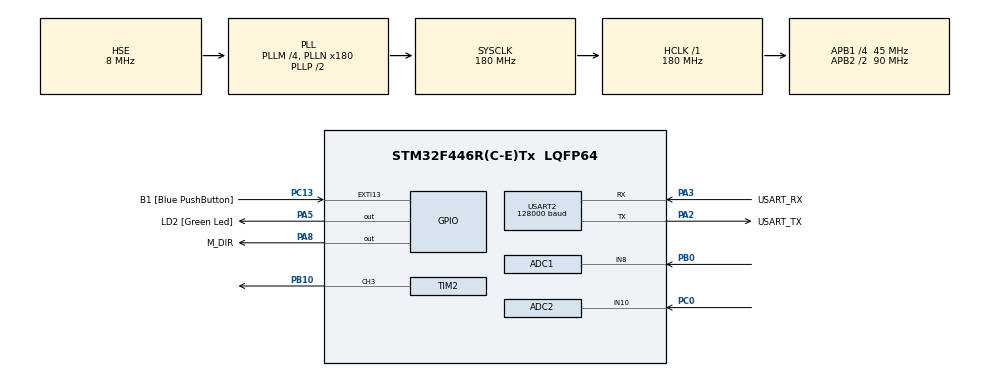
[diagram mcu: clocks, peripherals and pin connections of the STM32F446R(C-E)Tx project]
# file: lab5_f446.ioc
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ADC1.Channel-1\#ChannelRegularConversion=ADC_CHANNEL_8
ADC1.ClockPrescaler=ADC_CLOCK_SYNC_PCLK_DIV4
ADC1.ContinuousConvMode=DISABLE
ADC1.NbrOfConversion=1
ADC1.NbrOfConversionFlag=1
ADC1.Rank-1\#ChannelRegularConversion=1
ADC1.Resolution=ADC_RESOLUTION_12B
ADC1.SamplingTime-1\#ChannelRegularConversion=ADC_SAMPLETIME_3CYCLES
ADC1.ScanConvMode=DISABLE
ADC1.master=1
ADC2.Channel-1\#ChannelRegularConversion=ADC_CHANNEL_10
ADC2.ClockPrescaler=ADC_CLOCK_SYNC_PCLK_DIV4
ADC2.NbrOfConversionFlag=1
ADC2.Rank-1\#ChannelRegularConversion=1
ADC2.SamplingTime-1\#ChannelRegularConversion=ADC_SAMPLETIME_3CYCLES
Dma.ADC1.0.Direction=DMA_PERIPH_TO_MEMORY
Dma.ADC1.0.FIFOMode=DMA_FIFOMODE_DISABLE
Dma.ADC1.0.Instance=DMA2_Stream0
Dma.ADC1.0.MemDataAlignment=DMA_MDATAALIGN_WORD
Dma.ADC1.0.MemInc=DMA_MINC_ENABLE
Dma.ADC1.0.Mode=DMA_CIRCULAR
Dma.ADC1.0.PeriphDataAlignment=DMA_PDATAALIGN_WORD
Dma.ADC1.0.PeriphInc=DMA_PINC_DISABLE
Dma.ADC1.0.Priority=DMA_PRIORITY_LOW
Dma.Request0=ADC1
Mcu.Family=STM32F4
Mcu.Name=STM32F446R(C-E)Tx
Mcu.Package=LQFP64
NVIC.ADC_IRQn=true\:0\:0\:false\:false\:true\:true\:true\:true
NVIC.DMA2_Stream0_IRQn=true\:0\:0\:false\:false\:true\:false\:true\:true
NVIC.PriorityGroup=NVIC_PRIORITYGROUP_0
NVIC.USART2_IRQn=true\:0\:0\:false\:false\:true\:true\:true\:true
PA13.GPIO_Label=TMS
PA13.Mode=Serial_Wire
PA13.Signal=SYS_JTMS-SWDIO
PA14.GPIO_Label=TCK
PA14.Mode=Serial_Wire
PA14.Signal=SYS_JTCK-SWCLK
PA2.GPIO_Label=USART_TX
PA2.Mode=Asynchronous
PA2.Signal=USART2_TX
PA3.GPIO_Label=USART_RX
PA3.Mode=Asynchronous
PA3.Signal=USART2_RX
PA5.GPIO_Label=LD2 [Green Led]
PA5.Signal=GPIO_Output
PA8.GPIO_Label=M_DIR
PA8.Signal=GPIO_Output
PB0.Signal=ADCx_IN8
PB10.Signal=S_TIM2_CH3
PB3.GPIO_Label=SWO
PB3.Signal=SYS_JTDO-SWO
PC0.Signal=ADCx_IN10
PC13.GPIO_Label=B1 [Blue PushButton]
PC13.GPIO_ModeDefaultEXTI=GPIO_MODE_IT_FALLING
PC13.Signal=GPXTI13
PC14-OSC32_IN.Mode=LSE-External-Oscillator
PC14-OSC32_IN.Signal=RCC_OSC32_IN
PC15-OSC32_OUT.Mode=LSE-External-Oscillator
PC15-OSC32_OUT.Signal=RCC_OSC32_OUT
PH0-OSC_IN.Mode=HSE-External-Oscillator
PH0-OSC_IN.Signal=RCC_OSC_IN
PH1-OSC_OUT.Mode=HSE-External-Oscillator
PH1-OSC_OUT.Signal=RCC_OSC_OUT
ProjectManager.HeapSize=0x200
ProjectManager.StackSize=0x400
ProjectManager.TargetToolchain=STM32CubeIDE
RCC.AHBFreq_Value=180000000
RCC.APB1CLKDivider=RCC_HCLK_DIV4
RCC.APB1Freq_Value=45000000
RCC.APB1TimFreq_Value=90000000
RCC.APB2CLKDivider=RCC_HCLK_DIV2
RCC.APB2Freq_Value=90000000
RCC.APB2TimFreq_Value=180000000
RCC.CortexFreq_Value=180000000
RCC.FLatency-AdvancedSettings=FLASH_LATENCY_5
RCC.HCLKFreq_Value=180000000
RCC.HSE_VALUE=8000000
RCC.HSI_VALUE=16000000
RCC.PLLM=4
RCC.PLLN=180
RCC.PLLSourceVirtual=RCC_PLLSOURCE_HSE
RCC.SYSCLKFreq_VALUE=180000000
RCC.SYSCLKSource=RCC_SYSCLKSOURCE_PLLCLK
RCC.USBFreq_Value=180000000
RCC.VCOOutputFreq_Value=360000000
SH.ADCx_IN10.0=ADC2_IN10,IN10
SH.ADCx_IN8.0=ADC1_IN8,IN8
SH.S_TIM2_CH3.0=TIM2_CH3,PWM Generation3 CH3
TIM2.Channel-PWM\ Generation3\ CH3=TIM_CHANNEL_3
TIM2.Period=1000
TIM2.Prescaler=90-1
USART2.BaudRate=128000
USART2.VirtualMode=VM_ASYNC
VP_TIM3_VS_ClockSourceINT.Mode=Internal
board=NUCLEO-F446RE

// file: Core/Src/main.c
/* USER CODE BEGIN Header */
/**
  ******************************************************************************
  * @file           : main.c
  * @brief          : Main program body
  ******************************************************************************
  * @attention
  *
  * Copyright (c) 2024 STMicroelectronics.
  * All rights reserved.
  *
  * This software is licensed under terms that can be found in the LICENSE file
  * in the root directory of this software component.
  * If no LICENSE file comes with this software, it is provided AS-IS.
  *
  ******************************************************************************
  */
/* USER CODE END Header */
#include "main.h"

/* USER CODE BEGIN Includes */
#include "string.h"
#include "stdio.h"
#include "stdlib.h"
#include "inttypes.h"
/* USER CODE END Includes */

/* USER CODE BEGIN PD */
#define MOTOR_POT_MAX 4095
#define MOTOR_POT_MIN 0
/* USER CODE END PD */

 ADC_HandleTypeDef hadc1;
ADC_HandleTypeDef hadc2;
DMA_HandleTypeDef hdma_adc1;

TIM_HandleTypeDef htim2;
TIM_HandleTypeDef htim3;

UART_HandleTypeDef huart2;

/* USER CODE BEGIN PV */
uint32_t setpoint_pot_val, motor_pot_val;
uint32_t AD_RES_BUFFER[2];
int32_t duty_cycle, error, prev_error;
int32_t integral = 0, derivative;
char msg[30];
uint32_t current_tick = 0, last_tick = 0;
uint32_t delay_step = 5;
double Kp = 1.0, Ki = 0.001, Kd = 0.0;
/* USER CODE END PV */

void SystemClock_Config(void);
static void MX_GPIO_Init(void);
static void MX_ADC1_Init(void);
static void MX_DMA_Init(void);
static void MX_USART2_UART_Init(void);
static void MX_TIM2_Init(void);
static void MX_TIM3_Init(void);
static void MX_ADC2_Init(void);

/* USER CODE BEGIN 0 */
void drive_motor(int32_t duty_cycle) {
  // Saturation
  if (abs(duty_cycle) > 1000)
    duty_cycle = 1000*duty_cycle/abs(duty_cycle);
  uint8_t dir = GPIO_PIN_SET;
  if (duty_cycle < 0) dir = GPIO_PIN_RESET;

  // Output to motor
  HAL_GPIO_WritePin(M_DIR_GPIO_Port, M_DIR_Pin, dir);
  __HAL_TIM_SET_COMPARE(&htim2, TIM_CHANNEL_3, abs(duty_cycle));
}

void HAL_ADC_ConvCpltCallback(ADC_HandleTypeDef* hadc)
{
  if (hadc == &hadc1) {
      setpoint_pot_val = HAL_ADC_GetValue(hadc);
  }
  if (hadc == &hadc2) {
      motor_pot_val = HAL_ADC_GetValue(hadc);
    }
}

/* USER CODE END 0 */

int main(void)
{

  /* MCU Configuration--------------------------------------------------------*/

  /* Reset of all peripherals, Initializes the Flash interface and the Systick. */
  HAL_Init();

  /* Configure the system clock */
  SystemClock_Config();

  /* Initialize all configured peripherals */
  MX_GPIO_Init();
  MX_ADC1_Init();
  MX_DMA_Init();
  MX_USART2_UART_Init();
  MX_TIM2_Init();
  MX_TIM3_Init();
  MX_ADC2_Init();
  /* USER CODE BEGIN 2 */
  HAL_TIM_PWM_Start(&htim2, TIM_CHANNEL_3);
  /* USER CODE END 2 */

  /* Infinite loop */
  /* USER CODE BEGIN WHILE */
  while (1)
  {
      HAL_ADC_Start_IT(&hadc1);
      HAL_ADC_Start_IT(&hadc2);

      current_tick = HAL_GetTick();
      if (current_tick - last_tick > delay_step) {
	  last_tick = current_tick;

	  error = setpoint_pot_val - motor_pot_val;
	  integral += error*delay_step;
	  if (abs(error) < 10) integral = 0;
	  derivative = (error - prev_error)/delay_step;
	  prev_error = error;

	  duty_cycle = (Kp*error) + (Ki*integral) + (Kd*derivative);

	  // Drive motor
	  drive_motor(duty_cycle);

	  // To serial
	  sprintf(msg, "%"PRIu32",%"PRIu32",%"PRIi32",%"PRIi32"\r\n", setpoint_pot_val, motor_pot_val, error, duty_cycle);
	  HAL_UART_Transmit(&huart2, (uint8_t*)msg, strlen(msg), HAL_MAX_DELAY);

      }

      // Delay
//      HAL_Delay(5);
    /* USER CODE END WHILE */

  }
}

void SystemClock_Config(void)
{
  RCC_OscInitTypeDef RCC_OscInitStruct = {0};
  RCC_ClkInitTypeDef RCC_ClkInitStruct = {0};

  /** Configure the main internal regulator output voltage
  */
  __HAL_RCC_PWR_CLK_ENABLE();
  __HAL_PWR_VOLTAGESCALING_CONFIG(PWR_REGULATOR_VOLTAGE_SCALE1);

  /** Initializes the RCC Oscillators according to the specified parameters
  * in the RCC_OscInitTypeDef structure.
  */
  RCC_OscInitStruct.OscillatorType = RCC_OSCILLATORTYPE_HSE;
  RCC_OscInitStruct.HSEState = RCC_HSE_ON;
  RCC_OscInitStruct.PLL.PLLState = RCC_PLL_ON;
  RCC_OscInitStruct.PLL.PLLSource = RCC_PLLSOURCE_HSE;
  RCC_OscInitStruct.PLL.PLLM = 4;
  RCC_OscInitStruct.PLL.PLLN = 180;
  RCC_OscInitStruct.PLL.PLLP = RCC_PLLP_DIV2;
  RCC_OscInitStruct.PLL.PLLQ = 2;
  RCC_OscInitStruct.PLL.PLLR = 2;
  if (HAL_RCC_OscConfig(&RCC_OscInitStruct) != HAL_OK)
  {
    Error_Handler();
  }

  /** Activate the Over-Drive mode
  */
  if (HAL_PWREx_EnableOverDrive() != HAL_OK)
  {
    Error_Handler();
  }

  /** Initializes the CPU, AHB and APB buses clocks
  */
  RCC_ClkInitStruct.ClockType = RCC_CLOCKTYPE_HCLK|RCC_CLOCKTYPE_SYSCLK
                              |RCC_CLOCKTYPE_PCLK1|RCC_CLOCKTYPE_PCLK2;
  RCC_ClkInitStruct.SYSCLKSource = RCC_SYSCLKSOURCE_PLLCLK;
  RCC_ClkInitStruct.AHBCLKDivider = RCC_SYSCLK_DIV1;
  RCC_ClkInitStruct.APB1CLKDivider = RCC_HCLK_DIV4;
  RCC_ClkInitStruct.APB2CLKDivider = RCC_HCLK_DIV2;

  if (HAL_RCC_ClockConfig(&RCC_ClkInitStruct, FLASH_LATENCY_5) != HAL_OK)
  {
    Error_Handler();
  }
}

static void MX_ADC1_Init(void)
{

  ADC_ChannelConfTypeDef sConfig = {0};

  /** Configure the global features of the ADC (Clock, Resolution, Data Alignment and number of conversion)
  */
  hadc1.Instance = ADC1;
  hadc1.Init.ClockPrescaler = ADC_CLOCK_SYNC_PCLK_DIV4;
  hadc1.Init.Resolution = ADC_RESOLUTION_12B;
  hadc1.Init.ScanConvMode = DISABLE;
  hadc1.Init.ContinuousConvMode = DISABLE;
  hadc1.Init.DiscontinuousConvMode = DISABLE;
  hadc1.Init.ExternalTrigConvEdge = ADC_EXTERNALTRIGCONVEDGE_NONE;
  hadc1.Init.ExternalTrigConv = ADC_SOFTWARE_START;
  hadc1.Init.DataAlign = ADC_DATAALIGN_RIGHT;
  hadc1.Init.NbrOfConversion = 1;
  hadc1.Init.DMAContinuousRequests = DISABLE;
  hadc1.Init.EOCSelection = ADC_EOC_SINGLE_CONV;
  if (HAL_ADC_Init(&hadc1) != HAL_OK)
  {
    Error_Handler();
  }

  /** Configure for the selected ADC regular channel its corresponding rank in the sequencer and its sample time.
  */
  sConfig.Channel = ADC_CHANNEL_8;
  sConfig.Rank = 1;
  sConfig.SamplingTime = ADC_SAMPLETIME_3CYCLES;
  if (HAL_ADC_ConfigChannel(&hadc1, &sConfig) != HAL_OK)
  {
    Error_Handler();
  }

}

static void MX_ADC2_Init(void)
{

  ADC_ChannelConfTypeDef sConfig = {0};

  /** Configure the global features of the ADC (Clock, Resolution, Data Alignment and number of conversion)
  */
  hadc2.Instance = ADC2;
  hadc2.Init.ClockPrescaler = ADC_CLOCK_SYNC_PCLK_DIV4;
  hadc2.Init.Resolution = ADC_RESOLUTION_12B;
  hadc2.Init.ScanConvMode = DISABLE;
  hadc2.Init.ContinuousConvMode = DISABLE;
  hadc2.Init.DiscontinuousConvMode = DISABLE;
  hadc2.Init.ExternalTrigConvEdge = ADC_EXTERNALTRIGCONVEDGE_NONE;
  hadc2.Init.ExternalTrigConv = ADC_SOFTWARE_START;
  hadc2.Init.DataAlign = ADC_DATAALIGN_RIGHT;
  hadc2.Init.NbrOfConversion = 1;
  hadc2.Init.DMAContinuousRequests = DISABLE;
  hadc2.Init.EOCSelection = ADC_EOC_SINGLE_CONV;
  if (HAL_ADC_Init(&hadc2) != HAL_OK)
  {
    Error_Handler();
  }

  /** Configure for the selected ADC regular channel its corresponding rank in the sequencer and its sample time.
  */
  sConfig.Channel = ADC_CHANNEL_10;
  sConfig.Rank = 1;
  sConfig.SamplingTime = ADC_SAMPLETIME_3CYCLES;
  if (HAL_ADC_ConfigChannel(&hadc2, &sConfig) != HAL_OK)
  {
    Error_Handler();
  }

}

static void MX_TIM2_Init(void)
{

  TIM_MasterConfigTypeDef sMasterConfig = {0};
  TIM_OC_InitTypeDef sConfigOC = {0};

  htim2.Instance = TIM2;
  htim2.Init.Prescaler = 90-1;
  htim2.Init.CounterMode = TIM_COUNTERMODE_UP;
  htim2.Init.Period = 1000;
  htim2.Init.ClockDivision = TIM_CLOCKDIVISION_DIV1;
  htim2.Init.AutoReloadPreload = TIM_AUTORELOAD_PRELOAD_DISABLE;
  if (HAL_TIM_PWM_Init(&htim2) != HAL_OK)
  {
    Error_Handler();
  }
  sMasterConfig.MasterOutputTrigger = TIM_TRGO_RESET;
  sMasterConfig.MasterSlaveMode = TIM_MASTERSLAVEMODE_DISABLE;
  if (HAL_TIMEx_MasterConfigSynchronization(&htim2, &sMasterConfig) != HAL_OK)
  {
    Error_Handler();
  }
  sConfigOC.OCMode = TIM_OCMODE_PWM1;
  sConfigOC.Pulse = 0;
  sConfigOC.OCPolarity = TIM_OCPOLARITY_HIGH;
  sConfigOC.OCFastMode = TIM_OCFAST_DISABLE;
  if (HAL_TIM_PWM_ConfigChannel(&htim2, &sConfigOC, TIM_CHANNEL_3) != HAL_OK)
  {
    Error_Handler();
  }
  HAL_TIM_MspPostInit(&htim2);

}

static void MX_TIM3_Init(void)
{

  TIM_ClockConfigTypeDef sClockSourceConfig = {0};
  TIM_MasterConfigTypeDef sMasterConfig = {0};

  htim3.Instance = TIM3;
  htim3.Init.Prescaler = 0;
  htim3.Init.CounterMode = TIM_COUNTERMODE_UP;
  htim3.Init.Period = 65535;
  htim3.Init.ClockDivision = TIM_CLOCKDIVISION_DIV1;
  htim3.Init.AutoReloadPreload = TIM_AUTORELOAD_PRELOAD_DISABLE;
  if (HAL_TIM_Base_Init(&htim3) != HAL_OK)
  {
    Error_Handler();
  }
  sClockSourceConfig.ClockSource = TIM_CLOCKSOURCE_INTERNAL;
  if (HAL_TIM_ConfigClockSource(&htim3, &sClockSourceConfig) != HAL_OK)
  {
    Error_Handler();
  }
  sMasterConfig.MasterOutputTrigger = TIM_TRGO_RESET;
  sMasterConfig.MasterSlaveMode = TIM_MASTERSLAVEMODE_DISABLE;
  if (HAL_TIMEx_MasterConfigSynchronization(&htim3, &sMasterConfig) != HAL_OK)
  {
    Error_Handler();
  }

}

static void MX_USART2_UART_Init(void)
{

  huart2.Instance = USART2;
  huart2.Init.BaudRate = 128000;
  huart2.Init.WordLength = UART_WORDLENGTH_8B;
  huart2.Init.StopBits = UART_STOPBITS_1;
  huart2.Init.Parity = UART_PARITY_NONE;
  huart2.Init.Mode = UART_MODE_TX_RX;
  huart2.Init.HwFlowCtl = UART_HWCONTROL_NONE;
  huart2.Init.OverSampling = UART_OVERSAMPLING_16;
  if (HAL_UART_Init(&huart2) != HAL_OK)
  {
    Error_Handler();
  }

}

static void MX_DMA_Init(void)
{

  /* DMA controller clock enable */
  __HAL_RCC_DMA2_CLK_ENABLE();

  /* DMA interrupt init */
  /* DMA2_Stream0_IRQn interrupt configuration */
  HAL_NVIC_SetPriority(DMA2_Stream0_IRQn, 0, 0);
  HAL_NVIC_EnableIRQ(DMA2_Stream0_IRQn);

}

static void MX_GPIO_Init(void)
{
  GPIO_InitTypeDef GPIO_InitStruct = {0};

  /* GPIO Ports Clock Enable */
  __HAL_RCC_GPIOC_CLK_ENABLE();
  __HAL_RCC_GPIOH_CLK_ENABLE();
  __HAL_RCC_GPIOA_CLK_ENABLE();
  __HAL_RCC_GPIOB_CLK_ENABLE();

  /*Configure GPIO pin Output Level */
  HAL_GPIO_WritePin(GPIOA, LD2_Pin|M_DIR_Pin, GPIO_PIN_RESET);

  /*Configure GPIO pin : B1_Pin */
  GPIO_InitStruct.Pin = B1_Pin;
  GPIO_InitStruct.Mode = GPIO_MODE_IT_FALLING;
  GPIO_InitStruct.Pull = GPIO_NOPULL;
  HAL_GPIO_Init(B1_GPIO_Port, &GPIO_InitStruct);

  /*Configure GPIO pins : LD2_Pin M_DIR_Pin */
  GPIO_InitStruct.Pin = LD2_Pin|M_DIR_Pin;
  GPIO_InitStruct.Mode = GPIO_MODE_OUTPUT_PP;
  GPIO_InitStruct.Pull = GPIO_NOPULL;
  GPIO_InitStruct.Speed = GPIO_SPEED_FREQ_LOW;
  HAL_GPIO_Init(GPIOA, &GPIO_InitStruct);

}

void Error_Handler(void)
{
  __disable_irq();
  while (1)
  {
  }
}
